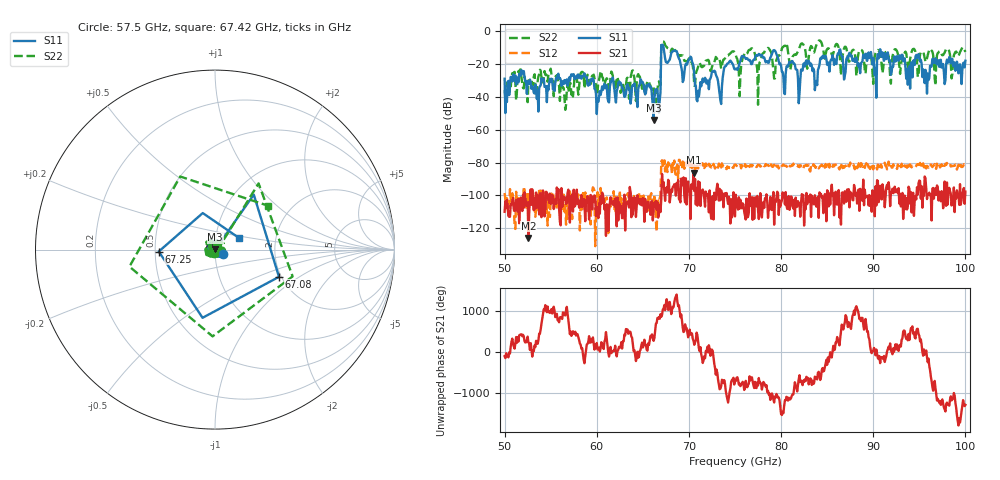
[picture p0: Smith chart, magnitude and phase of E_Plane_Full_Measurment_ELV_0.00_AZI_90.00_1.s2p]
! 11/26/2026 2:41:52 PM
! C:\ANRITSUVNA\TEMP\TEMP.S2P
! CHANNEL.1
! TR.MEASUREMENT
! RAW.DATA
# HZ S RI R 50.0
! FREQ.HZ  S11RE  S11IM  S21RE  S21IM  S12RE  S12IM  S22RE  S22IM
!; PortSelection: Port_12
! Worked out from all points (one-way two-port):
!   601 points, 50 GHz to 100 GHz, reference 50 ohm
!   highest |S21| = -86.25 dB at 70.5 GHz (marker M1); lowest = -126.0 dB at 52.58 GHz (marker M2)
!   lowest |S11| = -54.0 dB at 66.17 GHz (marker M3), VSWR 1.00, Z = 50.1 + j0.145 ohm
!   |S11| at or under -10 dB: start of sweep to 67 GHz; 67.25 GHz to end of sweep
!   |S22| runs from -47.9 to -5.6 dB; largest |S21 - S12| = 0.00015
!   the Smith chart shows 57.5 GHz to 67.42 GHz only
!   S11 on the Smith chart (normalised r, x): 57.5 GHz: 1.09, -0.05; 67.08 GHz: 1.94, -0.69; 67.25 GHz: 0.52, -0.01; 67.42 GHz: 1.29, +0.17
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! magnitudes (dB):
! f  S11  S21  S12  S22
! 50 GHz  -28.9  -110.0  -98.6  -35.9
! 52.58 GHz  -30.7  -126.0  -113.4  -29.9
! 57.5 GHz  -26.2  -96.6  -104.6  -34.7
! 58.42 GHz  -27.1  -107.1  -108.5  -24.7
! 60.17 GHz  -43.0  -113.9  -107.3  -30.5
! 66.17 GHz  -54.0  -108.4  -107.6  -34.0
! 66.67 GHz  -41.6  -113.6  -103.2  -31.7
! 67.08 GHz  -8.2  -87.0  -78.6  -6.8
! 67.25 GHz  -10.1  -91.9  -82.7  -6.3
! 67.42 GHz  -16.6  -103.3  -85.4  -8.3
! 70.5 GHz  -21.3  -86.2  -81.8  -24.9
! 70.92 GHz  -42.7  -106.3  -81.9  -23.1
! 75 GHz  -23.3  -112.8  -81.2  -13.0
! 78.58 GHz  -19.2  -113.7  -81.7  -10.1
! 79.25 GHz  -11.5  -117.9  -81.3  -28.9
! 80.25 GHz  -27.8  -100.6  -81.2  -9.3
! 83.42 GHz  -24.3  -101.8  -82.9  -10.8
! 91.67 GHz  -16.7  -92.0  -79.5  -15.2
! 93.75 GHz  -32.6  -106.7  -80.4  -21.3
! 94.83 GHz  -15.0  -99.4  -81.0  -27.9
! 95.83 GHz  -38.0  -102.3  -82.0  -16.5
! 100 GHz  -18.0  -97.7  -82.4  -12.6
